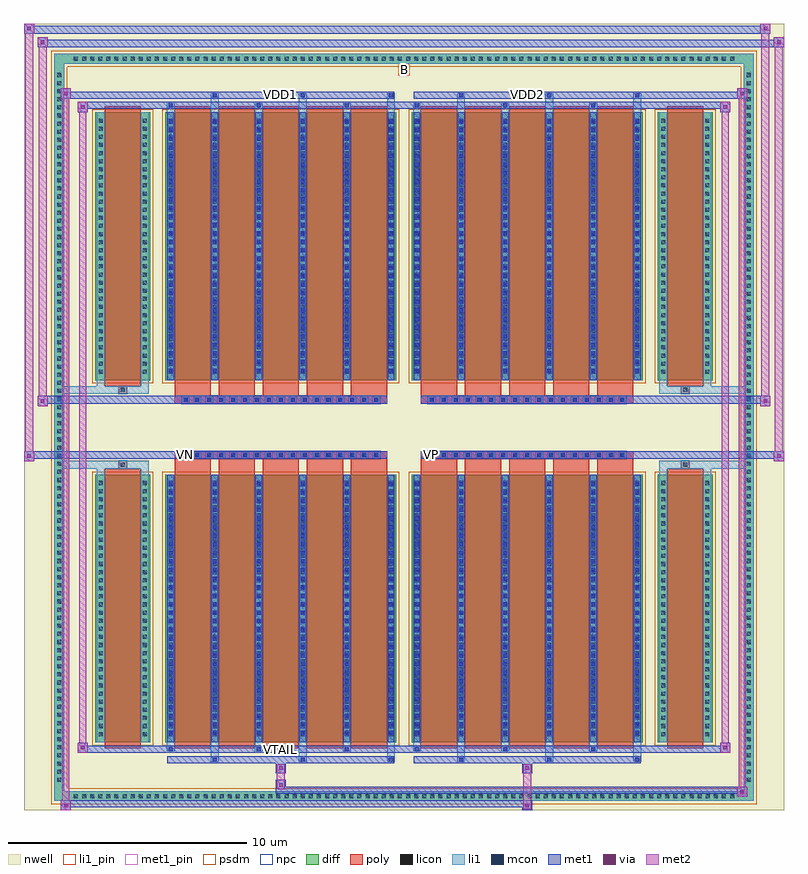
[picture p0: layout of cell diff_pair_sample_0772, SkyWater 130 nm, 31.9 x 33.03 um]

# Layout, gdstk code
import gdstk
lib = gdstk.Library(unit=1e-6, precision=5e-09)
def R(c, l, rs):  # rectangles x0, y0, x1, y1
    for r in rs: c.add(gdstk.rectangle(r[:2], r[2:], *l))
def A(c, l, x, y, w, h, nx, ny, dx, dy):  # array of equal rectangles
    R(c, l, [(x+i*dx, y+j*dy, x+i*dx+w, y+j*dy+h) for i in range(nx) for j in range(ny)])
def P(c, l, *ps):  # polygons
    for p in ps: c.add(gdstk.Polygon(p, *l))
nwell = (64, 20)
diff = (65, 20)
poly = (66, 20)
licon = (66, 44)
li1_pin = (67, 16)
li1 = (67, 20)
mcon = (67, 44)
met1_pin = (68, 16)
met1 = (68, 20)
via = (68, 44)
met2 = (69, 20)
psdm = (94, 20)
npc = (95, 20)

diff_pair_sample_0772 = lib.new_cell('diff_pair_sample_0772')
R(diff_pair_sample_0772, nwell, [(-15.95,-16.08,15.95,16.95), (-13.27,-14.27,-0.01,-0.795), (0.01,-14.27,13.27,-0.795), (-13.27,0.795,-0.01,14.27), (0.01,0.795,13.27,14.27)])
A(diff_pair_sample_0772, diff, -13.975, -15.68, 0.41, 0.41, 82, 2, 0.34, 30.95)
A(diff_pair_sample_0772, diff, -14.68, -14.995, 0.41, 0.41, 1, 88, 0, 0.34)
A(diff_pair_sample_0772, diff, 14.27, -14.995, 0.41, 0.41, 1, 88, 0, 0.34)
R(diff_pair_sample_0772, diff, [(-13.975,-15.68,13.975,-15.27), (-14.68,-14.995,-14.27,14.995), (14.27,-14.995,14.68,14.995), (-12.96,-13.225,-10.66,-1.985), (-10.02,-13.225,-0.32,-1.985), (0.32,-13.225,10.02,-1.985), (10.66,-13.225,12.96,-1.985), (-12.96,1.985,-10.66,13.225), (-10.02,1.985,-0.32,13.225), (0.32,1.985,10.02,13.225), (10.66,1.985,12.96,13.225), (-13.975,15.27,13.975,15.68)])
P(diff_pair_sample_0772, diff, [(14.68,15.68),(-14.68,15.68),(-14.68,-15.27),(-14.27,-15.27),(-14.27,15.27),(14.27,15.27),(14.27,-15.27),(-14.27,-15.27),(-14.68,-15.27),(-14.68,-15.68),(14.68,-15.68)])
A(diff_pair_sample_0772, poly, -9.63, -13.475, 1.52, 11.74, 5, 2, 1.85, 15.21)
A(diff_pair_sample_0772, poly, 0.71, -13.475, 1.52, 11.74, 5, 2, 1.85, 15.21)
A(diff_pair_sample_0772, poly, -9.63, -1.735, 1.52, 0.41, 5, 2, 1.85, 3.06)
A(diff_pair_sample_0772, poly, 0.71, -1.735, 1.52, 0.41, 5, 2, 1.85, 3.06)
A(diff_pair_sample_0772, poly, -9.335, -1.325, 0.33, 0.33, 17, 2, 0.5, 2.32)
A(diff_pair_sample_0772, poly, 1.005, -1.325, 0.33, 0.33, 17, 2, 0.5, 2.32)
R(diff_pair_sample_0772, poly, [(-12.57,-13.475,-11.05,-1.735), (11.05,-13.475,12.57,-1.735), (-11.975,-1.735,-11.645,-1.405), (-11.975,-1.735,-11.645,-1.405), (11.645,-1.735,11.975,-1.405), (11.645,-1.735,11.975,-1.405), (-9.63,-1.325,-0.71,-0.995), (0.71,-1.325,9.63,-0.995), (-9.63,0.995,-0.71,1.325), (0.71,0.995,9.63,1.325), (-11.975,1.405,-11.645,1.735), (-11.975,1.405,-11.645,1.735), (11.645,1.405,11.975,1.735), (11.645,1.405,11.975,1.735), (-12.57,1.735,-11.05,13.475), (11.05,1.735,12.57,13.475)])
A(diff_pair_sample_0772, licon, -13.855, -15.56, 0.17, 0.17, 82, 2, 0.34, 30.95)
A(diff_pair_sample_0772, licon, -14.56, -14.875, 0.17, 0.17, 1, 88, 0, 0.34)
A(diff_pair_sample_0772, licon, 14.39, -14.875, 0.17, 0.17, 1, 88, 0, 0.34)
A(diff_pair_sample_0772, licon, -12.82, -12.96, 0.17, 0.17, 1, 32, 0, 0.34)
A(diff_pair_sample_0772, licon, -10.97, -12.96, 0.17, 0.17, 1, 32, 0, 0.34)
A(diff_pair_sample_0772, licon, -9.88, -12.96, 0.17, 0.17, 6, 32, 1.85, 0.34)
A(diff_pair_sample_0772, licon, 0.46, -12.96, 0.17, 0.17, 6, 32, 1.85, 0.34)
A(diff_pair_sample_0772, licon, 10.8, -12.96, 0.17, 0.17, 1, 32, 0, 0.34)
A(diff_pair_sample_0772, licon, 12.65, -12.96, 0.17, 0.17, 1, 32, 0, 0.34)
A(diff_pair_sample_0772, licon, -9.255, -1.245, 0.17, 0.17, 17, 2, 0.5, 2.32)
A(diff_pair_sample_0772, licon, 1.085, -1.245, 0.17, 0.17, 17, 2, 0.5, 2.32)
A(diff_pair_sample_0772, licon, -12.82, 2.25, 0.17, 0.17, 1, 32, 0, 0.34)
A(diff_pair_sample_0772, licon, -10.97, 2.25, 0.17, 0.17, 1, 32, 0, 0.34)
A(diff_pair_sample_0772, licon, -9.88, 2.25, 0.17, 0.17, 6, 32, 1.85, 0.34)
A(diff_pair_sample_0772, licon, 0.46, 2.25, 0.17, 0.17, 6, 32, 1.85, 0.34)
A(diff_pair_sample_0772, licon, 10.8, 2.25, 0.17, 0.17, 1, 32, 0, 0.34)
A(diff_pair_sample_0772, licon, 12.65, 2.25, 0.17, 0.17, 1, 32, 0, 0.34)
R(diff_pair_sample_0772, licon, [(-11.895,-1.655,-11.725,-1.485), (11.725,-1.655,11.895,-1.485), (-11.895,1.485,-11.725,1.655), (11.725,1.485,11.895,1.655)])
R(diff_pair_sample_0772, li1_pin, [(-0.25,14.77,0.25,15.27)])
A(diff_pair_sample_0772, li1, -13.935, -15.64, 0.33, 0.33, 82, 2, 0.34, 30.95)
A(diff_pair_sample_0772, li1, -14.64, -14.955, 0.33, 0.33, 1, 88, 0, 0.34)
A(diff_pair_sample_0772, li1, 14.31, -14.955, 0.33, 0.33, 1, 88, 0, 0.34)
A(diff_pair_sample_0772, li1, -8.11, -14.03, 0.33, 0.805, 3, 2, 3.7, 27.255)
A(diff_pair_sample_0772, li1, -8.03, -14.03, 0.17, 0.17, 3, 2, 3.7, 27.89)
A(diff_pair_sample_0772, li1, 2.23, -14.03, 0.33, 0.805, 3, 2, 3.7, 27.255)
A(diff_pair_sample_0772, li1, 2.31, -14.03, 0.17, 0.17, 3, 2, 3.7, 27.89)
A(diff_pair_sample_0772, li1, -9.96, -13.6, 0.33, 0.375, 3, 2, 3.7, 26.825)
A(diff_pair_sample_0772, li1, -9.88, -13.6, 0.17, 0.17, 3, 2, 3.7, 27.03)
A(diff_pair_sample_0772, li1, 0.38, -13.6, 0.33, 0.375, 3, 2, 3.7, 26.825)
A(diff_pair_sample_0772, li1, 0.46, -13.6, 0.17, 0.17, 3, 2, 3.7, 27.03)
A(diff_pair_sample_0772, li1, -9.96, -13.225, 0.33, 11.24, 6, 2, 1.85, 15.21)
A(diff_pair_sample_0772, li1, 0.38, -13.225, 0.33, 11.24, 6, 2, 1.85, 15.21)
A(diff_pair_sample_0772, li1, -12.9, -13.04, 0.33, 0.33, 1, 32, 0, 0.34)
A(diff_pair_sample_0772, li1, -11.05, -13.04, 0.33, 0.33, 1, 32, 0, 0.34)
A(diff_pair_sample_0772, li1, -9.96, -13.04, 0.33, 0.33, 6, 32, 1.85, 0.34)
A(diff_pair_sample_0772, li1, 0.38, -13.04, 0.33, 0.33, 6, 32, 1.85, 0.34)
A(diff_pair_sample_0772, li1, 10.72, -13.04, 0.33, 0.33, 1, 32, 0, 0.34)
A(diff_pair_sample_0772, li1, 12.57, -13.04, 0.33, 0.33, 1, 32, 0, 0.34)
A(diff_pair_sample_0772, li1, -9.88, -12.91, 0.17, 0.17, 6, 30, 1.85, 0.36)
A(diff_pair_sample_0772, li1, -9.88, -12.91, 0.17, 10.61, 6, 2, 1.85, 15.21)
A(diff_pair_sample_0772, li1, 0.46, -12.91, 0.17, 0.17, 6, 30, 1.85, 0.36)
A(diff_pair_sample_0772, li1, 0.46, -12.91, 0.17, 10.61, 6, 2, 1.85, 15.21)
A(diff_pair_sample_0772, li1, -9.335, -1.325, 0.33, 0.33, 17, 2, 0.5, 2.32)
A(diff_pair_sample_0772, li1, 1.005, -1.325, 0.33, 0.33, 17, 2, 0.5, 2.32)
A(diff_pair_sample_0772, li1, -12.9, 2.17, 0.33, 0.33, 1, 32, 0, 0.34)
A(diff_pair_sample_0772, li1, -11.05, 2.17, 0.33, 0.33, 1, 32, 0, 0.34)
A(diff_pair_sample_0772, li1, -9.96, 2.17, 0.33, 0.33, 6, 32, 1.85, 0.34)
A(diff_pair_sample_0772, li1, 0.38, 2.17, 0.33, 0.33, 6, 32, 1.85, 0.34)
A(diff_pair_sample_0772, li1, 10.72, 2.17, 0.33, 0.33, 1, 32, 0, 0.34)
A(diff_pair_sample_0772, li1, 12.57, 2.17, 0.33, 0.33, 1, 32, 0, 0.34)
A(diff_pair_sample_0772, li1, -9.88, 2.3, 0.17, 0.17, 6, 30, 1.85, 0.36)
A(diff_pair_sample_0772, li1, 0.46, 2.3, 0.17, 0.17, 6, 30, 1.85, 0.36)
R(diff_pair_sample_0772, li1, [(-14.68,-15.68,-14.27,-15.27), (-14.68,-15.68,-14.27,-15.27), (-14.27,-15.68,14.27,-15.27), (14.27,-15.68,14.68,-15.27), (14.27,-15.68,14.68,-15.27), (-14.68,-15.27,-14.27,15.27), (14.27,-15.27,14.68,15.27), (-12.9,-13.225,-12.57,-1.985), (-11.05,-13.225,-10.72,-1.985), (10.72,-13.225,11.05,-1.985), (12.57,-13.225,12.9,-1.985), (-12.9,-1.985,-12.57,-1.405), (-11.05,-1.985,-10.72,-1.405), (10.72,-1.985,11.05,-1.405), (12.57,-1.985,12.9,-1.405), (-14.68,-1.735,-11.975,-1.405), (-12.9,-1.735,-11.975,-1.405), (-11.975,-1.735,-11.645,-1.405), (-11.645,-1.735,-10.72,-1.405), (10.72,-1.735,11.645,-1.405), (11.645,-1.735,11.975,-1.405), (11.645,-1.735,14.68,-1.405), (11.975,-1.735,12.9,-1.405), (-14.68,1.405,-11.975,1.735), (-12.9,1.405,-11.975,1.735), (-12.9,1.405,-12.57,1.985), (-11.975,1.405,-11.645,1.735), (-11.645,1.405,-10.72,1.735), (-11.05,1.405,-10.72,1.985), (10.72,1.405,11.645,1.735), (10.72,1.405,11.05,1.985), (11.645,1.405,11.975,1.735), (11.645,1.405,14.68,1.735), (11.975,1.405,12.9,1.735), (12.57,1.405,12.9,1.985), (-12.9,1.985,-12.57,13.225), (-11.05,1.985,-10.72,13.225), (10.72,1.985,11.05,13.225), (12.57,1.985,12.9,13.225), (-14.68,15.27,-14.27,15.68), (-14.68,15.27,-14.27,15.68), (-14.27,15.27,14.27,15.68), (14.27,15.27,14.68,15.68), (14.27,15.27,14.68,15.68)])
A(diff_pair_sample_0772, mcon, -8.03, -14.03, 0.17, 0.17, 3, 2, 3.7, 27.89)
A(diff_pair_sample_0772, mcon, 2.31, -14.03, 0.17, 0.17, 3, 2, 3.7, 27.89)
A(diff_pair_sample_0772, mcon, -9.88, -13.6, 0.17, 0.17, 3, 2, 3.7, 27.03)
A(diff_pair_sample_0772, mcon, 0.46, -13.6, 0.17, 0.17, 3, 2, 3.7, 27.03)
A(diff_pair_sample_0772, mcon, -9.88, -12.91, 0.17, 0.17, 6, 30, 1.85, 0.36)
A(diff_pair_sample_0772, mcon, 0.46, -12.91, 0.17, 0.17, 6, 30, 1.85, 0.36)
A(diff_pair_sample_0772, mcon, -9.255, -1.245, 0.17, 0.17, 17, 2, 0.5, 2.32)
A(diff_pair_sample_0772, mcon, 1.085, -1.245, 0.17, 0.17, 17, 2, 0.5, 2.32)
A(diff_pair_sample_0772, mcon, -9.88, 2.3, 0.17, 0.17, 6, 30, 1.85, 0.36)
A(diff_pair_sample_0772, mcon, 0.46, 2.3, 0.17, 0.17, 6, 30, 1.85, 0.36)
R(diff_pair_sample_0772, met1_pin, [(-5.305,-13.64,-5.035,-13.37), (-9.305,-1.285,-9.035,-1.015), (1.035,-1.285,1.305,-1.015), (-5.305,13.82,-5.035,14.09), (5.035,13.82,5.305,14.09)])
A(diff_pair_sample_0772, met1, -8.09, -14.09, 0.29, 0.29, 3, 2, 3.7, 27.89)
A(diff_pair_sample_0772, met1, 2.25, -14.09, 0.29, 0.29, 3, 2, 3.7, 27.89)
A(diff_pair_sample_0772, met1, -9.94, -13.66, 0.29, 0.29, 3, 2, 3.7, 27.03)
A(diff_pair_sample_0772, met1, 0.4, -13.66, 0.29, 0.29, 3, 2, 3.7, 27.03)
A(diff_pair_sample_0772, met1, -9.94, -13.225, 0.29, 11.24, 6, 2, 1.85, 15.21)
A(diff_pair_sample_0772, met1, 0.4, -13.225, 0.29, 11.24, 6, 2, 1.85, 15.21)
A(diff_pair_sample_0772, met1, -9.94, -12.97, 0.29, 0.29, 6, 30, 1.85, 0.36)
A(diff_pair_sample_0772, met1, 0.4, -12.97, 0.29, 0.29, 6, 30, 1.85, 0.36)
A(diff_pair_sample_0772, met1, -9.315, -1.305, 0.29, 0.29, 17, 2, 0.5, 2.32)
A(diff_pair_sample_0772, met1, 1.025, -1.305, 0.29, 0.29, 17, 2, 0.5, 2.32)
A(diff_pair_sample_0772, met1, -9.94, 2.24, 0.29, 0.29, 6, 30, 1.85, 0.36)
A(diff_pair_sample_0772, met1, 0.4, 2.24, 0.29, 0.29, 6, 30, 1.85, 0.36)
R(diff_pair_sample_0772, met1, [(-14.41,-16.08,-13.98,-15.65), (4.955,-16.08,5.385,-15.65), (-14.41,-15.94,5.385,-15.65), (13.98,-15.51,14.41,-15.08), (-5.385,-15.37,14.41,-15.08), (-5.385,-15.23,-4.955,-14.8), (-5.385,-14.52,-4.955,-14.09), (4.955,-14.52,5.385,-14.09), (-9.94,-14.09,-0.4,-13.8), (0.4,-14.09,9.94,-13.8), (-13.7,-13.66,-13.27,-13.23), (-13.7,-13.66,-9.94,-13.37), (-9.94,-13.66,-0.4,-13.37), (-0.4,-13.66,0.4,-13.37), (0.4,-13.66,9.94,-13.37), (9.94,-13.66,13.7,-13.37), (13.27,-13.66,13.7,-13.23), (-15.95,-1.425,-15.52,-0.995), (15.52,-1.425,15.95,-0.995), (-15.95,-1.325,-0.71,-0.995), (-9.63,-1.325,-0.71,-0.995), (0.71,-1.325,9.63,-0.995), (0.71,-1.325,15.95,-0.995), (-15.38,0.895,-14.95,1.325), (14.95,0.895,15.38,1.325), (-15.38,0.995,-9.63,1.325), (-9.63,0.995,-0.71,1.325), (0.71,0.995,9.63,1.325), (9.63,0.995,15.38,1.325), (-13.7,13.23,-13.27,13.66), (13.27,13.23,13.7,13.66), (-13.7,13.37,-9.94,13.66), (-9.94,13.37,-0.4,13.66), (-0.4,13.37,0.4,13.66), (0.4,13.37,9.94,13.66), (9.94,13.37,13.7,13.66), (-14.41,13.8,-13.98,14.23), (-14.41,13.8,-9.94,14.09), (-9.94,13.8,-0.4,14.09), (0.4,13.8,9.94,14.09), (9.94,13.8,14.41,14.09), (13.98,13.8,14.41,14.23), (-15.38,15.95,-14.95,16.38), (-15.38,15.95,-13.27,16.28), (-13.27,15.95,13.27,16.28), (13.27,15.95,15.95,16.28), (15.52,15.95,15.95,16.38), (-15.95,16.52,-15.52,16.95), (-15.95,16.52,-13.27,16.85), (-13.27,16.52,13.27,16.85), (13.27,16.52,15.38,16.85), (14.95,16.52,15.38,16.95)])
R(diff_pair_sample_0772, via, [(-14.27,-15.94,-14.12,-15.79), (5.095,-15.94,5.245,-15.79), (14.12,-15.37,14.27,-15.22), (-5.245,-15.09,-5.095,-14.94), (-5.245,-14.38,-5.095,-14.23), (5.095,-14.38,5.245,-14.23), (-13.56,-13.52,-13.41,-13.37), (13.41,-13.52,13.56,-13.37), (-15.81,-1.285,-15.66,-1.135), (15.66,-1.285,15.81,-1.135), (-15.24,1.035,-15.09,1.185), (15.09,1.035,15.24,1.185), (-13.56,13.37,-13.41,13.52), (13.41,13.37,13.56,13.52), (-14.27,13.94,-14.12,14.09), (14.12,13.94,14.27,14.09), (-15.24,16.09,-15.09,16.24), (15.66,16.09,15.81,16.24), (-15.81,16.66,-15.66,16.81), (15.09,16.66,15.24,16.81)])
R(diff_pair_sample_0772, met2, [(-14.41,-16.08,-13.98,-15.65), (-14.34,-16.08,-14.05,14.23), (-14.05,-16.08,-13.98,-15.65), (-14.36,-16.03,-14.03,-15.7), (5.005,-16.03,5.335,-15.7), (5.005,-15.7,5.335,-14.47), (13.98,-15.51,14.41,-15.08), (14.05,-15.51,14.34,14.23), (14.34,-15.51,14.41,-15.08), (14.03,-15.46,14.36,-15.13), (-5.335,-15.18,-5.005,-14.85), (-5.335,-14.85,-5.005,-14.47), (-5.335,-14.47,-5.005,-14.14), (5.005,-14.47,5.335,-14.14), (-13.7,-13.66,-13.27,-13.23), (-13.63,-13.66,-13.34,13.66), (-13.34,-13.66,-13.27,-13.23), (13.27,-13.66,13.7,-13.23), (13.34,-13.66,13.63,13.66), (13.63,-13.66,13.7,-13.23), (-13.65,-13.61,-13.32,-13.28), (13.32,-13.61,13.65,-13.28), (-15.95,-1.425,-15.52,-0.995), (-15.9,-1.425,-15.57,16.95), (-15.57,-1.425,-15.52,-0.995), (15.52,-1.425,15.95,-0.995), (15.57,-1.425,15.9,16.38), (15.9,-1.425,15.95,-0.995), (-15.9,-1.375,-15.57,-1.045), (15.57,-1.375,15.9,-1.045), (-15.38,0.895,-14.95,1.325), (-15.33,0.895,-15,16.38), (-15,0.895,-14.95,1.325), (14.95,0.895,15.38,1.325), (15,0.895,15.33,16.95), (15.33,0.895,15.38,1.325), (-15.33,0.945,-15,1.275), (15,0.945,15.33,1.275), (-13.7,13.23,-13.27,13.66), (-13.34,13.23,-13.27,13.66), (13.27,13.23,13.7,13.66), (13.63,13.23,13.7,13.66), (-13.65,13.28,-13.32,13.61), (13.32,13.28,13.65,13.61), (-14.41,13.8,-13.98,14.23), (-14.05,13.8,-13.98,14.23), (13.98,13.8,14.41,14.23), (14.34,13.8,14.41,14.23), (-14.36,13.85,-14.03,14.18), (14.03,13.85,14.36,14.18), (-15.38,15.95,-14.95,16.38), (-15,15.95,-14.95,16.38), (15.52,15.95,15.95,16.38), (15.9,15.95,15.95,16.38), (-15.33,16,-15,16.33), (15.57,16,15.9,16.33), (-15.95,16.52,-15.52,16.95), (-15.57,16.52,-15.52,16.95), (14.95,16.52,15.38,16.95), (15.33,16.52,15.38,16.95), (-15.9,16.57,-15.57,16.9), (15,16.57,15.33,16.9)])
R(diff_pair_sample_0772, psdm, [(-13.09,-13.355,-10.53,-1.855), (-10.15,-13.355,-0.19,-1.855), (0.19,-13.355,10.15,-1.855), (10.53,-13.355,13.09,-1.855), (-13.09,1.855,-10.53,13.355), (-10.15,1.855,-0.19,13.355), (0.19,1.855,10.15,13.355), (10.53,1.855,13.09,13.355)])
P(diff_pair_sample_0772, psdm, [(14.81,15.81),(-14.81,15.81),(-14.81,-15.14),(-14.14,-15.14),(-14.14,15.14),(14.14,15.14),(14.14,-15.14),(-14.14,-15.14),(-14.81,-15.14),(-14.81,-15.81),(14.81,-15.81)])
A(diff_pair_sample_0772, npc, -9.355, -1.345, 0.37, 0.37, 17, 2, 0.5, 2.32)
A(diff_pair_sample_0772, npc, 0.985, -1.345, 0.37, 0.37, 17, 2, 0.5, 2.32)
R(diff_pair_sample_0772, npc, [(-11.995,-1.755,-11.625,-1.385), (11.625,-1.755,11.995,-1.385), (-9.355,-1.345,-8.485,-0.975), (-9.355,-1.345,-8.485,-0.975), (-8.855,-1.345,-7.985,-0.975), (-8.855,-1.345,-7.985,-0.975), (-8.355,-1.345,-7.485,-0.975), (-8.355,-1.345,-7.485,-0.975), (-7.855,-1.345,-6.985,-0.975), (-7.855,-1.345,-6.985,-0.975), (-7.355,-1.345,-6.485,-0.975), (-7.355,-1.345,-6.485,-0.975), (-6.855,-1.345,-5.985,-0.975), (-6.855,-1.345,-5.985,-0.975), (-6.355,-1.345,-5.485,-0.975), (-6.355,-1.345,-5.485,-0.975), (-5.855,-1.345,-4.985,-0.975), (-5.855,-1.345,-4.985,-0.975), (-5.355,-1.345,-4.485,-0.975), (-5.355,-1.345,-4.485,-0.975), (-4.855,-1.345,-3.985,-0.975), (-4.855,-1.345,-3.985,-0.975), (-4.355,-1.345,-3.485,-0.975), (-4.355,-1.345,-3.485,-0.975), (-3.855,-1.345,-2.985,-0.975), (-3.855,-1.345,-2.985,-0.975), (-3.355,-1.345,-2.485,-0.975), (-3.355,-1.345,-2.485,-0.975), (-2.855,-1.345,-1.985,-0.975), (-2.855,-1.345,-1.985,-0.975), (-2.355,-1.345,-1.485,-0.975), (-2.355,-1.345,-1.485,-0.975), (-1.855,-1.345,-0.985,-0.975), (-1.855,-1.345,-0.985,-0.975), (0.985,-1.345,1.855,-0.975), (0.985,-1.345,1.855,-0.975), (1.485,-1.345,2.355,-0.975), (1.485,-1.345,2.355,-0.975), (1.985,-1.345,2.855,-0.975), (1.985,-1.345,2.855,-0.975), (2.485,-1.345,3.355,-0.975), (2.485,-1.345,3.355,-0.975), (2.985,-1.345,3.855,-0.975), (2.985,-1.345,3.855,-0.975), (3.485,-1.345,4.355,-0.975), (3.485,-1.345,4.355,-0.975), (3.985,-1.345,4.855,-0.975), (3.985,-1.345,4.855,-0.975), (4.485,-1.345,5.355,-0.975), (4.485,-1.345,5.355,-0.975), (4.985,-1.345,5.855,-0.975), (4.985,-1.345,5.855,-0.975), (5.485,-1.345,6.355,-0.975), (5.485,-1.345,6.355,-0.975), (5.985,-1.345,6.855,-0.975), (5.985,-1.345,6.855,-0.975), (6.485,-1.345,7.355,-0.975), (6.485,-1.345,7.355,-0.975), (6.985,-1.345,7.855,-0.975), (6.985,-1.345,7.855,-0.975), (7.485,-1.345,8.355,-0.975), (7.485,-1.345,8.355,-0.975), (7.985,-1.345,8.855,-0.975), (7.985,-1.345,8.855,-0.975), (8.485,-1.345,9.355,-0.975), (8.485,-1.345,9.355,-0.975), (-9.355,0.975,-8.485,1.345), (-9.355,0.975,-8.485,1.345), (-8.855,0.975,-7.985,1.345), (-8.855,0.975,-7.985,1.345), (-8.355,0.975,-7.485,1.345), (-8.355,0.975,-7.485,1.345), (-7.855,0.975,-6.985,1.345), (-7.855,0.975,-6.985,1.345), (-7.355,0.975,-6.485,1.345), (-7.355,0.975,-6.485,1.345), (-6.855,0.975,-5.985,1.345), (-6.855,0.975,-5.985,1.345), (-6.355,0.975,-5.485,1.345), (-6.355,0.975,-5.485,1.345), (-5.855,0.975,-4.985,1.345), (-5.855,0.975,-4.985,1.345), (-5.355,0.975,-4.485,1.345), (-5.355,0.975,-4.485,1.345), (-4.855,0.975,-3.985,1.345), (-4.855,0.975,-3.985,1.345), (-4.355,0.975,-3.485,1.345), (-4.355,0.975,-3.485,1.345), (-3.855,0.975,-2.985,1.345), (-3.855,0.975,-2.985,1.345), (-3.355,0.975,-2.485,1.345), (-3.355,0.975,-2.485,1.345), (-2.855,0.975,-1.985,1.345), (-2.855,0.975,-1.985,1.345), (-2.355,0.975,-1.485,1.345), (-2.355,0.975,-1.485,1.345), (-1.855,0.975,-0.985,1.345), (-1.855,0.975,-0.985,1.345), (0.985,0.975,1.855,1.345), (0.985,0.975,1.855,1.345), (1.485,0.975,2.355,1.345), (1.485,0.975,2.355,1.345), (1.985,0.975,2.855,1.345), (1.985,0.975,2.855,1.345), (2.485,0.975,3.355,1.345), (2.485,0.975,3.355,1.345), (2.985,0.975,3.855,1.345), (2.985,0.975,3.855,1.345), (3.485,0.975,4.355,1.345), (3.485,0.975,4.355,1.345), (3.985,0.975,4.855,1.345), (3.985,0.975,4.855,1.345), (4.485,0.975,5.355,1.345), (4.485,0.975,5.355,1.345), (4.985,0.975,5.855,1.345), (4.985,0.975,5.855,1.345), (5.485,0.975,6.355,1.345), (5.485,0.975,6.355,1.345), (5.985,0.975,6.855,1.345), (5.985,0.975,6.855,1.345), (6.485,0.975,7.355,1.345), (6.485,0.975,7.355,1.345), (6.985,0.975,7.855,1.345), (6.985,0.975,7.855,1.345), (7.485,0.975,8.355,1.345), (7.485,0.975,8.355,1.345), (7.985,0.975,8.855,1.345), (7.985,0.975,8.855,1.345), (8.485,0.975,9.355,1.345), (8.485,0.975,9.355,1.345), (-11.995,1.385,-11.625,1.755), (11.625,1.385,11.995,1.755)])
diff_pair_sample_0772.add(gdstk.Label('VTAIL', (-5.17,-13.505), layer=68, texttype=5))
diff_pair_sample_0772.add(gdstk.Label('VN', (-9.17,-1.15), layer=68, texttype=5))
diff_pair_sample_0772.add(gdstk.Label('VP', (1.17,-1.15), layer=68, texttype=5))
diff_pair_sample_0772.add(gdstk.Label('B', (0,15.02), layer=67, texttype=5))
diff_pair_sample_0772.add(gdstk.Label('VDD2', (5.17,13.955), layer=68, texttype=5))
diff_pair_sample_0772.add(gdstk.Label('VDD1', (-5.17,13.955), layer=68, texttype=5))

lib.write_gds('diff_pair_sample_0772.gds')
